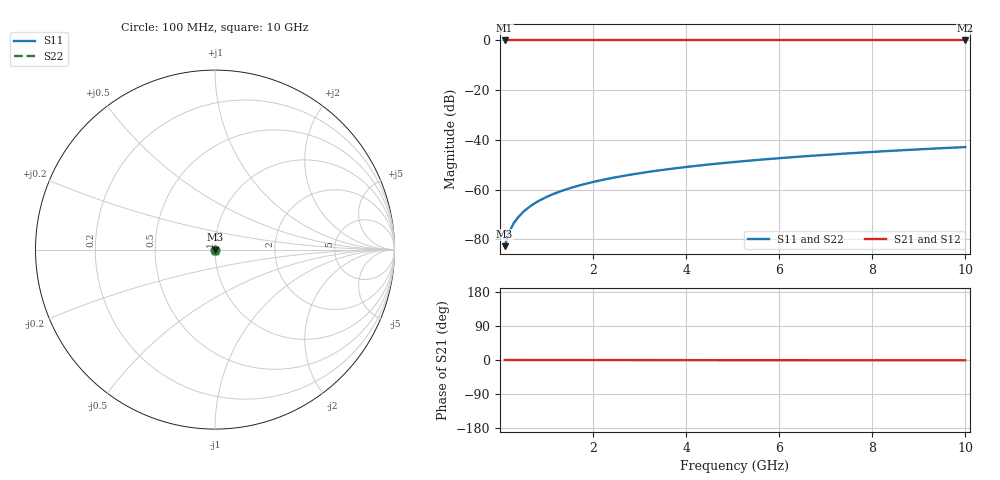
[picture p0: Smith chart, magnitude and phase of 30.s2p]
# Hz S RI R 50.00
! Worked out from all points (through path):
!   100 points, 100 MHz to 10 GHz, reference 50 ohm
!   highest |S21| = 0.00 dB at 100 MHz (marker M1); lowest = 0.0 dB at 10 GHz (marker M2)
!   lowest |S11| = -82.7 dB at 100 MHz (marker M3), VSWR 1.00, Z = 50 - j0.00711 ohm
!   |S11| at or under -10 dB: start of sweep to end of sweep
!   |S22| runs from -82.7 to -42.9 dB; largest |S21 - S12| = 0
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1e8  1.63e-05 -7.11e-05  1 -0.000153  1 -0.000153  1.63e-05 -7.11e-05
2e8  1.63e-05 -0.000142  1 -0.000305  1 -0.000305  1.63e-05 -0.000142
3e8  1.62e-05 -0.000213  1 -0.000458  1 -0.000458  1.62e-05 -0.000213
4e8  1.61e-05 -0.000284  1 -0.00061  1 -0.00061  1.61e-05 -0.000284
5e8  1.6e-05 -0.000355  1 -0.000763  1 -0.000763  1.6e-05 -0.000355
6e8  1.58e-05 -0.000427  1 -0.000916  1 -0.000916  1.58e-05 -0.000427
7e8  1.56e-05 -0.000498  1 -0.00107  1 -0.00107  1.56e-05 -0.000498
9e8  1.51e-05 -0.00064  1 -0.00137  1 -0.00137  1.51e-05 -0.00064
1e9  1.49e-05 -0.000711  1 -0.00153  1 -0.00153  1.49e-05 -0.000711
1.2e9  1.43e-05 -0.000853  1 -0.00183  1 -0.00183  1.43e-05 -0.000853
1.5e9  1.32e-05 -0.00107  1 -0.00229  1 -0.00229  1.32e-05 -0.00107
1.8e9  1.19e-05 -0.00128  1 -0.00275  1 -0.00275  1.19e-05 -0.00128
2.1e9  1.03e-05 -0.00149  1 -0.00321  1 -0.00321  1.03e-05 -0.00149
2.5e9  8.03e-06 -0.00178  1 -0.00382  1 -0.00382  8.03e-06 -0.00178
2.9e9  5.35e-06 -0.00207  1 -0.00443  1 -0.00443  5.35e-06 -0.00207
3.4e9  1.5e-06 -0.00242  1 -0.0052  1 -0.0052  1.5e-06 -0.00242
4.2e9  -5.81e-06 -0.003  1 -0.00642  1 -0.00642  -5.81e-06 -0.003
5.1e9  -1.57e-05 -0.00364  0.9999 -0.00781  0.9999 -0.00781  -1.57e-05 -0.00364
5.9e9  -2.61e-05 -0.00422  0.9999 -0.00904  0.9999 -0.00904  -2.61e-05 -0.00422
6.7e9  -3.79e-05 -0.00479  0.9999 -0.0103  0.9999 -0.0103  -3.79e-05 -0.00479
8.4e9  -6.77e-05 -0.00602  0.9999 -0.0129  0.9999 -0.0129  -6.77e-05 -0.00602
1e10  -0.000102 -0.00718  0.9998 -0.0154  0.9998 -0.0154  -0.000102 -0.00718
